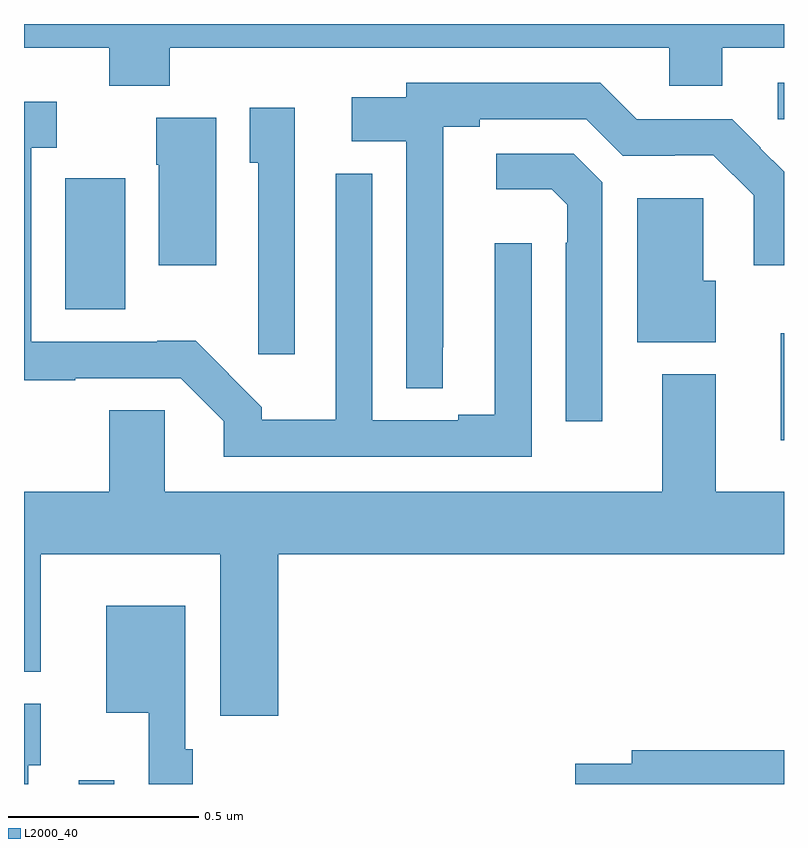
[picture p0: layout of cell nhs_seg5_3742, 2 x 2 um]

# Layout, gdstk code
import gdstk
lib = gdstk.Library(unit=1e-6, precision=1e-09)
def R(c, l, rs):  # rectangles x0, y0, x1, y1
    for r in rs: c.add(gdstk.rectangle(r[:2], r[2:], *l))
def P(c, l, *ps):  # polygons
    for p in ps: c.add(gdstk.Polygon(p, *l))
L2000_40 = (2000, 40)

nhs_seg5_3742 = lib.new_cell('nhs_seg5_3742')
R(nhs_seg5_3742, L2000_40, [(161.144,878.799,161.238,878.809), (162.992,879.704,163,879.985), (161.108,880.048,161.266,880.393), (162.984,880.548,163,880.644)])
P(nhs_seg5_3742, L2000_40, [(161.384,880.736),(162.698,880.736),(162.698,880.637),(162.838,880.637),(162.838,880.736),(163,880.736),(163,880.799),(161,880.799),(161,880.736),(161.224,880.736),(161.224,880.637),(161.384,880.637)],
  [(162.102,879.949),(162.103,879.949),(162.103,880.528),(162.199,880.528),(162.199,880.548),(162.48,880.548),(162.576,880.452),(162.712,880.452),(162.712,880.454),(162.814,880.454),(162.92,880.349),(162.92,880.164),(163,880.164),(163,880.41),(162.938,880.472),(162.939,880.473),(162.864,880.548),(162.613,880.548),(162.517,880.644),(162.006,880.644),(162.006,880.606),(161.862,880.606),(161.862,880.49),(162.006,880.49),(162.006,879.841),(162.102,879.841)],
  [(162.336,880.222),(162.239,880.222),(162.239,879.771),(162.143,879.771),(162.143,879.756),(161.916,879.756),(161.916,880.405),(161.82,880.405),(161.82,879.757),(161.626,879.757),(161.626,879.791),(161.452,879.965),(161.351,879.965),(161.351,879.963),(161.019,879.963),(161.019,880.473),(161.086,880.473),(161.086,880.594),(161,880.594),(161,879.862),(161.135,879.862),(161.135,879.867),(161.412,879.867),(161.526,879.754),(161.526,879.66),(162.336,879.66)],
  [(161.712,880.579),(161.594,880.579),(161.594,880.434),(161.616,880.434),(161.616,879.93),(161.712,879.93)],
  [(161.506,880.552),(161.348,880.552),(161.348,880.428),(161.354,880.428),(161.354,880.164),(161.506,880.164)],
  [(162.522,880.383),(162.447,880.458),(162.243,880.458),(162.243,880.364),(162.389,880.364),(162.429,880.323),(162.429,880.223),(162.426,880.223),(162.426,879.753),(162.522,879.753)],
  [(162.82,880.123),(162.787,880.123),(162.787,880.341),(162.614,880.341),(162.614,879.962),(162.82,879.962)],
  [(161.669,879.404),(163,879.404),(163,879.568),(162.82,879.568),(162.82,879.877),(162.68,879.877),(162.68,879.568),(161.37,879.568),(161.37,879.782),(161.224,879.782),(161.224,879.568),(161,879.568),(161,879.095),(161.044,879.095),(161.044,879.404),(161.516,879.404),(161.516,878.979),(161.669,878.979)],
  [(161.444,878.89),(161.424,878.89),(161.424,879.268),(161.216,879.268),(161.216,878.987),(161.328,878.987),(161.328,878.799),(161.444,878.799)],
  [(161.011,878.849),(161.044,878.849),(161.044,879.01),(161,879.01),(161,878.799),(161.011,878.799)],
  [(163,878.888),(162.599,878.888),(162.599,878.852),(162.45,878.852),(162.45,878.799),(163,878.799)])

lib.write_gds('nhs_seg5_3742.gds')
